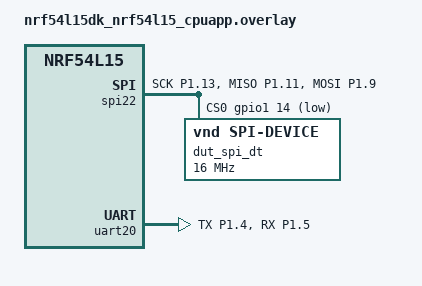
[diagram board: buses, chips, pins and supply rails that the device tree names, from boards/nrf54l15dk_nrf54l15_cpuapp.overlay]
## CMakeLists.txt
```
# SPDX-License-Identifier: Apache-2.0

cmake_minimum_required(VERSION 3.20.0)

find_package(Zephyr REQUIRED HINTS $ENV{ZEPHYR_BASE})
project(ppi_seq_spi)

FILE(GLOB app_sources src/*.c)

target_sources(app PRIVATE ${app_sources})
```

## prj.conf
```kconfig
CONFIG_NRF_SENSOR_ENGINE=y
CONFIG_NRFX_SPIM=y
CONFIG_SHELL=y
CONFIG_NRF_CPU_LOAD=y
CONFIG_HEAP_MEM_POOL_SIZE=4096
```

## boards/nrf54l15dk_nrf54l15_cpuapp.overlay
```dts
/*
 * Copyright (c) 2024 Nordic Semiconductor
 *
 * SPDX-License-Identifier: Apache-2.0
 */

&pinctrl {
	uart20_alt_default: uart20_alt_default {
		group1 {
			psels = <NRF_PSEL(UART_TX, 1, 4)>;
		};

		group2 {
			psels = <NRF_PSEL(UART_RX, 1, 5)>;
			bias-pull-up;
		};
	};

	uart20_alt_sleep: uart20_alt_sleep {
		group1 {
			psels = <NRF_PSEL(UART_TX, 1, 4)>,
				<NRF_PSEL(UART_RX, 1, 5)>;
			low-power-enable;
		};
	};

	spi22_default_alt: spi22_default_alt {
		group1 {
			psels = <NRF_PSEL(SPIM_SCK, 1, 13)>,
				<NRF_PSEL(SPIM_MISO, 1, 11)>,
				<NRF_PSEL(SPIM_MOSI, 1, 9)>;
		};
	};

	spi22_sleep_alt: spi22_sleep_alt {
		group1 {
			psels = <NRF_PSEL(SPIM_SCK, 1, 13)>,
				<NRF_PSEL(SPIM_MISO, 1, 11)>,
				<NRF_PSEL(SPIM_MOSI, 1, 9)>;
			low-power-enable;
		};
	};
};

cnt_timer: &timer21 {
	status = "reserved";
};

trig_timer: &timer22 {
	status = "reserved";
};

sample_spi: &spi22 {
	status = "okay";
	pinctrl-0 = <&spi22_default_alt>;
	pinctrl-1 = <&spi22_sleep_alt>;
	pinctrl-names = "default", "sleep";
	overrun-character = <0x00>;
	cs-gpios = <&gpio1 14 GPIO_ACTIVE_LOW>;
	zephyr,pm-device-runtime-auto;

	dut_spi_dt: test-spi-dev@0 {
		compatible = "vnd,spi-device";
		reg = <0>;
		spi-max-frequency = <DT_FREQ_M(16)>;
	};
};

&uart20 {
	pinctrl-0 = <&uart20_alt_default>;
	pinctrl-1 = <&uart20_alt_sleep>;
};
```

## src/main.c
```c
/*
 * Copyright (c) 2025 Nordic Semiconductor ASA
 *
 * SPDX-License-Identifier: LicenseRef-Nordic-5-Clause
 */

#include <errno.h>
#include <string.h>
#include <stdlib.h>
#include <zephyr/kernel.h>
#include <debug/cpu_load.h>
#include <drivers/ppi_seq.h>
#include <drivers/ppi_seq_spim.h>
#include <zephyr/drivers/pinctrl.h>
#include <nrfx_gpiote.h>
#include <hal/nrf_gpio.h>
#include <zephyr/logging/log.h>
#include <zephyr/drivers/gpio/gpio_nrf.h>
#include <zephyr/shell/shell.h>
LOG_MODULE_REGISTER(ppi_seq_spi);

#define SPI_FREQ MHZ(8)

#define SPIM_NODE DT_NODELABEL(sample_spi)
static nrfx_spim_t spim;
static NRF_TIMER_Type *trig_timer = (NRF_TIMER_Type *)DT_REG_ADDR(DT_NODELABEL(trig_timer));
static struct ppi_seq_spim seq_spim;
static struct ppi_seq_config seq_config;
static struct ppi_seq_notifier notifier;
static struct k_sem spi_sem;

static void spim_event_handler(nrfx_spim_event_t const *event, void *context)
{
	k_sem_give((struct k_sem *)context);
}

static int spim_init(void)
{
	int rv;
	nrfx_spim_config_t config;

	IRQ_CONNECT(DT_IRQN(SPIM_NODE), DT_IRQ_BY_IDX(SPIM_NODE, 0, priority),
			nrfx_spim_irq_handler, &spim, 0);

	spim.p_reg = (NRF_SPIM_Type *)DT_REG_ADDR(SPIM_NODE);

	PINCTRL_DT_DEFINE(SPIM_NODE);
	rv = pinctrl_apply_state(PINCTRL_DT_DEV_CONFIG_GET(SPIM_NODE), PINCTRL_STATE_DEFAULT);
	if (rv < 0) {
		LOG_ERR("SPI pinctrl initialization failed:%d", rv);
		return rv;
	}

	/* CS configure. */
	uint32_t pin = DT_GPIO_PIN(SPIM_NODE, cs_gpios);
	uint32_t port = DT_PROP(DT_GPIO_CTLR(SPIM_NODE, cs_gpios), port);
	uint32_t ss_pin = 32 * port + pin;

	nrf_gpio_pin_set(ss_pin);
	nrf_gpio_cfg_output(ss_pin);
	nrf_spim_csn_configure(spim.p_reg, ss_pin, NRF_SPIM_CSN_POL_LOW, 32);

	config.ss_pin = NRF_SPIM_PIN_NOT_CONNECTED;
	config.frequency = SPI_FREQ;
	config.mode = NRF_SPIM_MODE_0;
	config.use_hw_ss = true;
	config.rx_delay = 1;
	config.bit_order = NRF_SPIM_BIT_ORDER_MSB_FIRST;
	config.skip_gpio_cfg = true;
	config.skip_psel_cfg = true;

	rv = nrfx_spim_init(&spim, &config, spim_event_handler, &spi_sem);
	if (rv < 0) {
		LOG_ERR("Failed to initialize nrfx_spim instance %d", rv);
	}

	return rv;
}

static int initialize_single_xfer(enum ppi_seq_notifier_type notifier_type,
				  bool use_timer, uint32_t period, uint32_t xfer_length)
{
	notifier.type = notifier_type;
	if (notifier_type == PPI_SEQ_NOTIFIER_SYS_TIMER) {
		notifier.sys_timer.offset = (1000000 * xfer_length) / (SPI_FREQ / 8) + 10;
		notifier.sys_timer.extra_main_ops = 0;
	} else {
		notifier.nrfx_timer.timer.p_reg =
			(NRF_TIMER_Type *)DT_REG_ADDR(DT_NODELABEL(cnt_timer));
		notifier.nrfx_timer.end_seq_event = nrfx_spim_end_event_address_get(&spim);
	}

	seq_config.notifier = &notifier;
	seq_config.timer_reg = use_timer ? trig_timer : NULL;
	seq_config.callback = ppi_seq_spim_internal_cb;
	seq_config.period = period;
	seq_config.task = nrfx_spim_start_task_address_get(&spim);
	seq_config.extra_ops = NULL;
	seq_config.extra_ops_count = 0;

	return ppi_seq_spim_init(&seq_spim, &seq_config);
}

static void single_xfer(enum ppi_seq_notifier_type notifier_type, bool use_timer,
		uint32_t period, uint32_t xfer_length, uint32_t cb_count, uint32_t repeat)
{
	uint8_t *tx_buf = malloc(xfer_length);
	uint8_t *rx_buf = malloc(xfer_length);
	nrfx_spim_xfer_desc_t desc = {
		.p_tx_buffer = tx_buf,
		.tx_length = sizeof(xfer_length),
		.p_rx_buffer = rx_buf,
		.rx_length = sizeof(xfer_length),
	};
	uint32_t t;
	int load;
	int rv;

	printk("Running set of SPI transfers using software loop\n");
	k_sem_init(&spi_sem, 0, 1);
	if (IS_ENABLED(CONFIG_NRF_CPU_LOAD)) {
		cpu_load_reset();
	}
	t = k_cycle_get_32();
	for (int i = 0; i < cb_count * repeat; i++) {
		rv = nrfx_spim_xfer(&spim, &desc, 0);
		if (rv < 0) {
			printk("SPIM transfer failed: %d\n", rv);
			return;
		}
		rv = k_sem_take(&spi_sem, K_MSEC(10));
		if (rv < 0) {
			printk("Failed to complete the SPIM transfer: %d\n", rv);
			return;
		}
		k_sleep(K_USEC(period));
	}
	t = k_cycle_get_32() - t;
	load = cpu_load_get();
	free(tx_buf);
	free(rx_buf);
	printk("Performed %d SPI transfers with %d us sleep period. LOAD:%d.%d "
		"took:%d us (should take:%d us)\n",
		cb_count * repeat, period, load / 1000, load % 1000, t,
		period * cb_count * repeat);
}

static int single_cmd_handler(const struct shell *sh, size_t argc, char **argv,
			      enum ppi_seq_notifier_type notifier_type, bool use_timer)
{
	int rv = 0;
	uint32_t period, xfer_length, cb_count, repeat;

	period = shell_strtoul(argv[1], 0, &rv);
	if (rv < 0) {
		return rv;
	}
	xfer_length = shell_strtoul(argv[2], 0, &rv);
	if (rv < 0) {
		return rv;
	}
	cb_count = shell_strtoul(argv[3], 0, &rv);
	if (rv < 0) {
		return rv;
	}
	repeat = shell_strtoul(argv[4], 0, &rv);
	if (rv < 0) {
		return rv;
	}

	single_xfer(notifier_type, use_timer, period, xfer_length, cb_count, repeat);

	return 0;
}

static int single_timer_sys_timer_handler(const struct shell *sh, size_t argc, char **argv)
{
	ARG_UNUSED(argc);

	return single_cmd_handler(sh, argc, argv, PPI_SEQ_NOTIFIER_SYS_TIMER, true);
}

static int single_timer_nrfx_timer_handler(const struct shell *sh, size_t argc, char **argv)
{
	ARG_UNUSED(argc);

	return single_cmd_handler(sh, argc, argv, PPI_SEQ_NOTIFIER_NRFX_TIMER, true);
}

static int single_grtc_sys_timer_handler(const struct shell *sh, size_t argc, char **argv)
{
	ARG_UNUSED(argc);

	return single_cmd_handler(sh, argc, argv, PPI_SEQ_NOTIFIER_SYS_TIMER, false);
}

static int single_grtc_nrfx_timer_handler(const struct shell *sh, size_t argc, char **argv)
{
	ARG_UNUSED(argc);

	return single_cmd_handler(sh, argc, argv, PPI_SEQ_NOTIFIER_NRFX_TIMER, false);
}

#define HELP_COMMON "4 arguments are needed: <period> <xfer_length> <callback count> <repeat>\n" \
		" - period - in microseconds a distance between each transfer\n" \
		" - xfer_length - number of bytes in the transfer\n" \
		" - callback_count - after how many transfers callback is called\n" \
		" - repeat - how many callbacks before stopping the sequencer\n"

SHELL_SUBCMD_ADD((spi_sequence, single, timer), sys_timer, NULL,
		"System timer used for the notifier\n" HELP_COMMON,
		single_timer_sys_timer_handler, 5, 0);
SHELL_SUBCMD_ADD((spi_sequence, single, timer), nrfx_timer, NULL,
		"nrfx timer in counter mode used for the notifier\n" HELP_COMMON,
		single_timer_nrfx_timer_handler, 5, 0);

SHELL_SUBCMD_ADD((spi_sequence, single, grtc), sys_timer, NULL,
		"System timer used for the notifier\n" HELP_COMMON,
		single_grtc_sys_timer_handler, 5, 0);
SHELL_SUBCMD_ADD((spi_sequence, single, grtc), nrfx_timer, NULL,
		"nrfx timer in counter mode used for the notifier\n" HELP_COMMON,
		single_grtc_nrfx_timer_handler, 5, 0);

SHELL_SUBCMD_SET_CREATE(single_grtc_cmd, (spi_sequence, single, grtc));
SHELL_SUBCMD_SET_CREATE(single_timer_cmd, (spi_sequence, single, timer));

SHELL_SUBCMD_ADD((spi_sequence, single), grtc, &single_grtc_cmd, "GRTC used for triggering",
		NULL, 1, 0);
SHELL_SUBCMD_ADD((spi_sequence, single), timer, &single_timer_cmd, "TIMER used for triggering",
		NULL, 1, 0);

SHELL_SUBCMD_SET_CREATE(single_seq_cmd, (spi_sequence, single));

SHELL_SUBCMD_ADD((spi_sequence), single, &single_seq_cmd, "Single SPI transfer in a sequence",
		NULL, 1, 0);
SHELL_SUBCMD_SET_CREATE(spi_sequence_cmd, (spi_sequence));
SHELL_CMD_REGISTER(spi_sequence, &spi_sequence_cmd,
		   "Demo command using section for subcommand registration", NULL);

int main(void)
{
	printk("PPI Sequencer for SPI transfers\n");

	if(spim_init() < 0) {
		printk("SPI driver initialization failed\n");
		return 0;
	}
}
```
